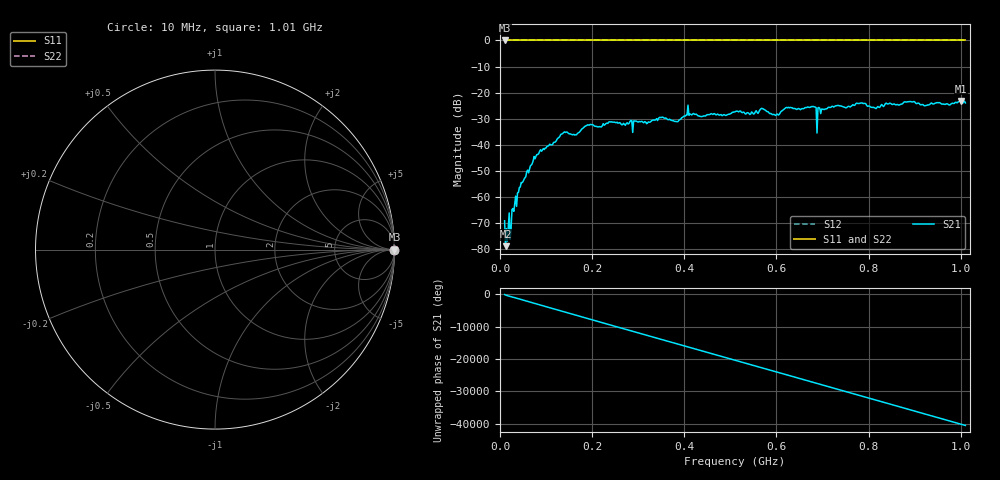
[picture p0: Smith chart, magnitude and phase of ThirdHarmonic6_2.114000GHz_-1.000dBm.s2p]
! 8/17/2025 1:16:54 AM
! C:\ANRITSUVNA\TEMP\TEMP.S2P
! CHANNEL.1
! TR.MEASUREMENT
! RAW.DATA
! RF.CORRECTION.OFF
! AVERAGING.OFF
! IF.BANDWIDTH: 5KHZ
! SWEEPTYPE:  FREQ.SWEEP(Linear)
! Reference Plane Port Info
! PORT:  PORT1  PORT2
! DISTANCE:  0  m  0  m
! TIME:  0  s  0  s
! PHASE.OFFSET:  0  deg.  0  deg.
! LOSS:  0  dB  0  dB
! REF.LOSS:  0  dB  0  dB
! REF.FREQ:  0  Hz  0  Hz
! Power Info
! POWER:  -20  dBm  -20  dBm
! EFF.POWER:  -20  dBm  -20  dBm
! SOURCE.ATTEN:  0  dB  0  dB
! TEST.ATTEN:  0  dB  0  dB
# GHZ S RI R 50.0
! FREQ.GHZ  S11RE  S11IM  S21RE  S21IM  S12RE  S12IM  S22RE  S22IM
!; PortSelection: Port_12
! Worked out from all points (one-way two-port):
!   501 points, 10 MHz to 1.01 GHz, reference 50 ohm
!   highest |S21| = -23.26 dB at 1 GHz (marker M1); lowest = -79.0 dB at 12 MHz (marker M2)
!   lowest |S11| = 0.0 dB at 10 MHz (marker M3)
!   |S11| at or under -10 dB: nowhere
!   |S22| runs from 0.0 to 0.0 dB; largest |S21 - S12| = 1.1
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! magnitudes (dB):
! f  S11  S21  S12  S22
! 10 MHz  0.0  -69.2  0.0  0.0
! 12 MHz  0.0  -79.0  0.0  0.0
! 20 MHz  0.0  -66.2  0.0  0.0
! 30 MHz  0.0  -65.6  0.0  0.0
! 42 MHz  0.0  -56.4  0.0  0.0
! 78 MHz  0.0  -44.5  0.0  0.0
! 136 MHz  0.0  -35.8  0.0  0.0
! 178 MHz  0.0  -33.9  0.0  0.0
! 344 MHz  0.0  -29.9  0.0  0.0
! 382 MHz  0.0  -31.1  0.0  0.0
! 410 MHz  0.0  -28.7  0.0  0.0
! 510 MHz  0.0  -27.4  0.0  0.0
! 570 MHz  0.0  -26.2  0.0  0.0
! 600 MHz  0.0  -28.5  0.0  0.0
! 622 MHz  0.0  -25.7  0.0  0.0
! 678 MHz  0.0  -25.4  0.0  0.0
! 692 MHz  0.0  -25.7  0.0  0.0
! 694 MHz  0.0  -26.0  0.0  0.0
! 732 MHz  0.0  -25.0  0.0  0.0
! 844 MHz  0.0  -24.3  0.0  0.0
! 1 GHz  0.0  -23.3  0.0  0.0
! 1.01 GHz  0.0  -24.0  0.0  0.0
